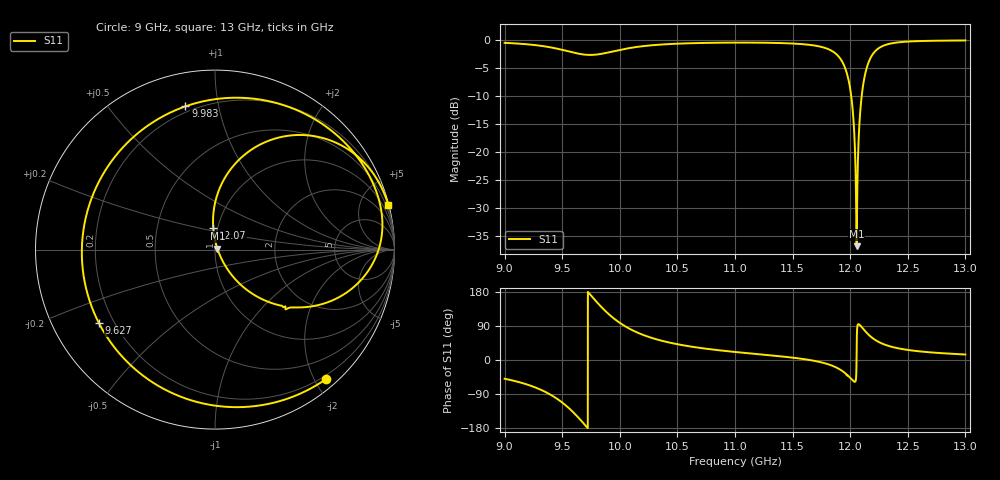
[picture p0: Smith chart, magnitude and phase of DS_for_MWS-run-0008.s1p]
! TOUCHSTONE file generated by CST DESIGN STUDIO
! Date and time: Tue Feb  4 17:35:14 2025
! Project name: C:\Work\MatlabApps\UnitCellOptimizationMatlab\CST\unitcell.cst
! Tree item: Tasks\Sweep1\SPara1\S-Parameters
! Header version: 2024
! Port assignment regex: !\s*Touchstone port\s*([0-9]+)\s*=\s*(CST MWS port|CST DES external port|CST DES block port)\s*(.+)\s* \(\"(.*)\"\)(\s*mode\s*([0-9]+))?.*
! Touchstone port assignment:
! Touchstone port 1 = CST DES external port 1 ("")
# GHz S MA R 50
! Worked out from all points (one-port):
!   4001 points, 9 GHz to 13 GHz, reference 50 ohm
!   lowest |S11| = -36.8 dB at 12.06 GHz (marker M1), VSWR 1.03, Z = 51.3 + j0.603 ohm
!   |S11| at or under -10 dB: 12.01 GHz to 12.1 GHz (90.19 MHz wide, 0.748 % of centre)
!   S11 on the Smith chart (normalised r, x): 9 GHz: 0.15, -2.17; 9.627 GHz: 0.14, -0.28; 9.983 GHz: 0.17, +0.80; 12.07 GHz: 0.95, +0.23; 13 GHz: 0.06, +7.85
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9  0.9502 -49.4
9.262  0.9078 -71.9
9.396  0.867 -91.1
9.5  0.823 -112.2
9.627  0.7655 -147.6
9.703  0.7441 -173.3
9.777  0.7432 160.8
9.88  0.772 127.8
9.983  0.8149 101.6
10  0.8219 98.0
10.226  0.8932 63.5
10.5  0.9338 41.6
11  0.9549 21.2
11.5  0.9368 6.2
11.831  0.8153 -13.5
11.938  0.6242 -30.5
12  0.3691 -47.2
12.024  0.2246 -54.6
12.044  0.08749 -57.0
12.056  0.01449 23.9
12.072  0.1211 94.6
12.085  0.2157 92.0
12.103  0.3397 85.8
12.13  0.5007 76.2
12.167  0.6646 64.7
12.299  0.905 40.7
12.5  0.9754 26.6
13  0.998 14.5
